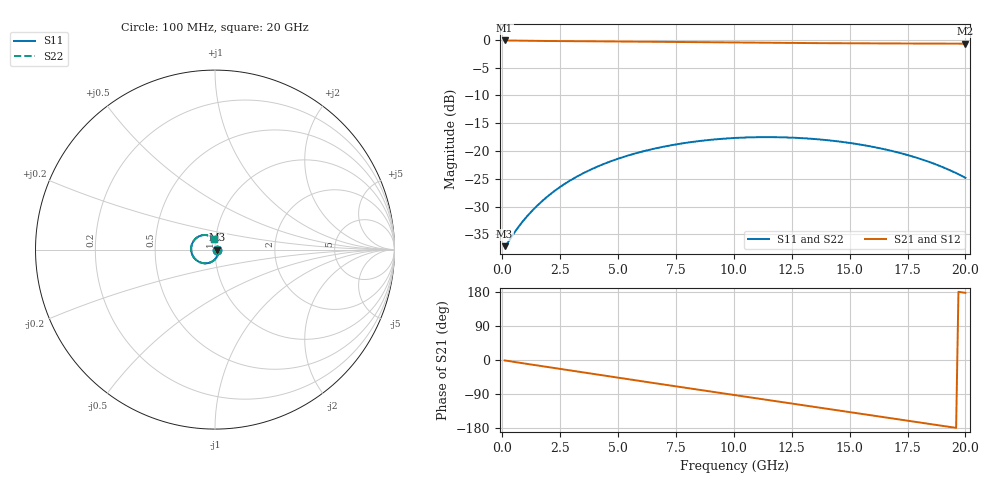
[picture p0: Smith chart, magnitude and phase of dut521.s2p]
! Touchstone file exported from HFSS 2026.1.0
!  File:  C:/ffzhzh/LocalFiles/Ansys_Project_Files/temp_train_TSV_RDL_521_1783110539_46604.aedt
!  Generated:  04:35:38 AM Jul  4, 2026
!  Design:  TSV_RDL
!  Project:  temp_train_TSV_RDL_521_1783110539_46604
! Variables:
!  h_bsmrdl = 2.43um
!  h_ox = 20um
!  h_rdl = 5um
!  h_sub = 74.04um
!  h_tmrdl = 3.78um
!  h_tsv = 74.04um
!  h_via = 3um
!  l_bsmrdl = 527.93um
!  l_sub = 2501.19um
!  l_tmrdl = 100.34um
!  m_sub = 200um
!  pitch = 28.21um
!  r_tsv = 13.03um
!  s_tmrdl = 10um
!  w_bsmrdl = 22.31um
!  w_sub = 500um
!  w_tmrdl = 16.37um
!  x_tsv_center1 = 108.525um
!  x_tsv_center2 = 658.765um
!  x_tsv_center3 = 775.475um
!  x_tsv_center4 = 1325.715um
!  x_tsv_center5 = 1442.425um
!  x_tsv_center6 = 1992.665um
# GHz S MA R 50.000000
! Terminal data exported
! Port[1] = TM_RDL1_1_T1
! Port[2] = TM_RDL5_1_T1
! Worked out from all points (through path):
!   200 points, 100 MHz to 20 GHz, reference 50 ohm
!   highest |S21| = -0.12 dB at 100 MHz (marker M1); lowest = -0.7 dB at 20 GHz (marker M2)
!   group delay of S21, straight-line fit = 25.3 ps
!   lowest |S11| = -37.1 dB at 100 MHz (marker M3), VSWR 1.03, Z = 51.4 - j0.0379 ohm
!   |S11| at or under -10 dB: start of sweep to end of sweep
!   |S22| runs from -37.1 to -17.5 dB; largest |S21 - S12| = 1.7e-14
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0.1  0.0139 -1.5  0.9861 -1.0  0.9861 -1.0  0.0139 -1.5
! Gamma 0 0 0 0
! Port Impedance 50 0 50 0
0.9  0.02346 -36.3  0.979 -8.7  0.979 -8.7  0.02345 -36.3
1.6  0.03354 -61.7  0.9762 -15.2  0.9762 -15.2  0.03354 -61.7
2.5  0.04747 -82.4  0.9737 -23.5  0.9737 -23.5  0.04745 -82.4
3.5  0.06307 -98.7  0.9708 -32.8  0.9708 -32.8  0.06305 -98.7
4.3  0.07512 -109.4  0.968 -40.2  0.968 -40.2  0.0751 -109.4
5.2  0.08784 -120.2  0.9646 -48.5  0.9646 -48.5  0.08783 -120.2
6.8  0.1074 -137.7  0.9579 -63.2  0.9579 -63.2  0.1074 -137.7
7.7  0.1163 -147.0  0.9541 -71.4  0.9541 -71.4  0.1163 -147.0
8.5  0.1227 -155.0  0.9506 -78.7  0.9506 -78.7  0.1227 -155.1
9.3  0.1276 -162.9  0.9473 -85.9  0.9473 -85.9  0.1276 -163.0
10.1  0.131 -170.7  0.9441 -93.2  0.9441 -93.2  0.131 -170.8
10.9  0.1328 -178.4  0.9411 -100.4  0.9411 -100.4  0.1328 -178.5
11.7  0.1331 174.0  0.9384 -107.6  0.9384 -107.6  0.133 173.9
12.5  0.1317 166.4  0.9359 -114.8  0.9359 -114.8  0.1317 166.3
13.4  0.1284 157.9  0.9334 -122.9  0.9334 -122.9  0.1284 157.8
15.1  0.1172 141.9  0.9295 -138.3  0.9295 -138.3  0.1172 141.8
16.7  0.1014 126.7  0.9268 -152.7  0.9268 -152.7  0.1014 126.6
17.6  0.09064 118.1  0.9256 -160.9  0.9256 -160.9  0.09059 118.0
18.4  0.08013 110.4  0.9246 -168.2  0.9246 -168.2  0.08009 110.2
19.2  0.06895 102.5  0.9237 -175.5  0.9237 -175.5  0.0689 102.3
20  0.05729 94.3  0.9227 177.2  0.9227 177.2  0.05725 94.1
